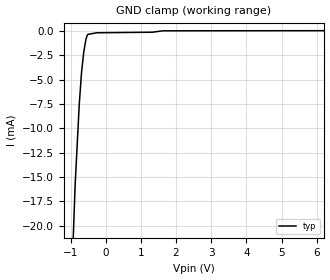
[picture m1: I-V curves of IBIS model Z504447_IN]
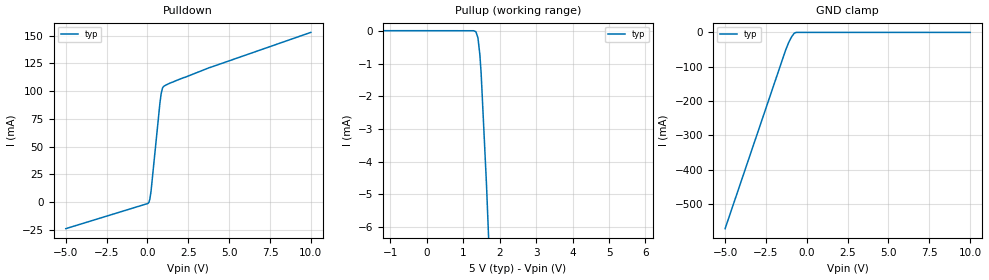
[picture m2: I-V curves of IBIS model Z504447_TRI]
| YOU ARE ONLY AUTHORIZED TO USE THIS SOFTWARE
| ACCORDING TO LICENSOR'S LICENSE RESTRICTIONS.
[IBIS Ver] 3.1
[File Name] sn54ls373j.ibs
[File Rev] 2.0
[Source] Measured and created by ICX Technology
[Date] Friday 7/14/00 9:08:15 AM
[Copyright]
| (C) COPYRIGHT 1993-2000
| MENTOR GRAPHICS CORPORATION
| ICX STANDARD LIBRARY, ICX PROJECT MODELING,
| ICX CUSTOM MODELING, ICX VENDOR MODEL
| ALL RIGHTS RESERVED.
| THE FOLLOWING ARE TRADEMARKS OR SERVICE MARKS OF
| MENTOR GRAPHICS CORPORATION:ICX (R), ICX STANDARD
| LIBRARY(R), ICX PROJECT MODELING(R), ICX CUSTOM
| MODELING(R), qualityIBIS(TM), MODELVIEWER(TM),
| AND MODELEDITOR(TM)
| ALL COPIES OF SOFTWARE, INCLUDING BUT NOT LIMITED TO
| ANY MODIFICATIONS, ENHANCEMENTS OR DERIVATIVE WORKS,
| MUST CONTAIN ALL MENTOR GRAPHICS CORPORATION'S
| NOTICES AND LEGENDS, INCLUDING THOSE EMBEDDED IN
| SOFTWARE AND THOSE AFFIXED TO SOFTWARE MEDIUM
| AND CONTAINER, AS RECEIVED FROM MENTOR GRAPHICS
| CORPORATION.
|  ZAP Model Builder 2.7
[Component] SN54LS373J
[Manufacturer] OnSemiconductor
[Package]
| variable   typ   min   max
R_pkg  .216ohms NA NA
L_pkg  5.76nH NA NA
C_pkg  2.193pF NA NA
[Pin] signal_name  model_name  R_pin  L_pin C_pin
1 _G Z504447_IN .232 9.76n 3.179p
2 Q0 Z504447_TRI .224 7.26n 2.686p
3 D0 Z504447_IN .216 5.26n 2.193p
4 D1 Z504447_IN .208 3.76n 1.7p
5 Q1 Z504447_TRI .2 2.76n 1.207p
6 Q2 Z504447_TRI .2 2.76n 1.207p
7 D2 Z504447_IN .208 3.76n 1.7p
8 D3 Z504447_IN .216 5.26n 2.193p
9 Q3 Z504447_TRI .224 7.26n 2.686p
10 GND GND .232 9.76n 3.179p
11 C Z504447_IN .232 9.76n 3.179p
12 Q4 Z504447_TRI .224 7.26n 2.686p
13 D4 Z504447_IN .216 5.26n 2.193p
14 D5 Z504447_IN .208 3.76n 1.7p
15 Q5 Z504447_TRI .2 2.76n 1.207p
16 Q6 Z504447_TRI .2 2.76n 1.207p
17 D6 Z504447_IN .208 3.76n 1.7p
18 D7 Z504447_IN .216 5.26n 2.193p
19 Q7 Z504447_TRI .224 7.26n 2.686p
20 VCC POWER .232 9.76n 3.179p
| Models and submodels in the file (2): Z504447_IN (Input), Z504447_TRI (3-state)
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| (C) COPYRIGHT 1993-2000
| MENTOR GRAPHICS CORPORATION
| ICX STANDARD LIBRARY, ICX PROJECT MODELING,
| ICX CUSTOM MODELING, ICX VENDOR MODEL
| ALL RIGHTS RESERVED.
| THE FOLLOWING ARE TRADEMARKS OR SERVICE MARKS OF
| MENTOR GRAPHICS CORPORATION:ICX (R), ICX STANDARD
| LIBRARY(R), ICX PROJECT MODELING(R), ICX CUSTOM
| MODELING(R), qualityIBIS(TM), MODELVIEWER(TM),
| AND MODELEDITOR(TM)
| ALL COPIES OF SOFTWARE, INCLUDING BUT NOT LIMITED TO
| ANY MODIFICATIONS, ENHANCEMENTS OR DERIVATIVE WORKS,
| MUST CONTAIN ALL MENTOR GRAPHICS CORPORATION'S
| NOTICES AND LEGENDS, INCLUDING THOSE EMBEDDED IN
| SOFTWARE AND THOSE AFFIXED TO SOFTWARE MEDIUM
| AND CONTAINER, AS RECEIVED FROM MENTOR GRAPHICS
| CORPORATION.
| Model Application Version 1.89 2/18/99.
[Model] Z504447_IN
Model_type Input
Vinl = 800.0mV
Vinh = 2.000V
C_comp 4.000pF NA NA
| variable typ   min   max
[Voltage Range] 5.000V NA NA
[GND Clamp Reference] 0.000V NA NA
[POWER Clamp Reference] 5.000V NA NA
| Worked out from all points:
|   GND clamp passes 1 mA (typ) near -0.57 V on its own axis
[GND Clamp]
-5V       -431.1mA   NA         NA
-868.9mV  -15.75mA   NA         NA
-752mV    -7.499mA   NA         NA
-687.3mV  -4.262mA   NA         NA
-625mV    -2.189mA   NA         NA
-561.5mV  -850.1uA   NA         NA
-527.3mV  -479.8uA   NA         NA
-502.9mV  -368.4uA   NA         NA
-251.5mV  -209.5uA   NA         NA
1.326V    -153.8uA   NA         NA
1.626V    -8.316uA   NA         NA
10V       15.74uA    NA         NA
[POWER Clamp]
-5V       0A         NA         NA
10V       0A         NA         NA
| (C) COPYRIGHT 1993-2000
| MENTOR GRAPHICS CORPORATION
| ICX STANDARD LIBRARY, ICX PROJECT MODELING,
| ICX CUSTOM MODELING, ICX VENDOR MODEL
| ALL RIGHTS RESERVED.
| THE FOLLOWING ARE TRADEMARKS OR SERVICE MARKS OF
| MENTOR GRAPHICS CORPORATION:ICX (R), ICX STANDARD
| LIBRARY(R), ICX PROJECT MODELING(R), ICX CUSTOM
| MODELING(R), qualityIBIS(TM), MODELVIEWER(TM),
| AND MODELEDITOR(TM)
| ALL COPIES OF SOFTWARE, INCLUDING BUT NOT LIMITED TO
| ANY MODIFICATIONS, ENHANCEMENTS OR DERIVATIVE WORKS,
| MUST CONTAIN ALL MENTOR GRAPHICS CORPORATION'S
| NOTICES AND LEGENDS, INCLUDING THOSE EMBEDDED IN
| SOFTWARE AND THOSE AFFIXED TO SOFTWARE MEDIUM
| AND CONTAINER, AS RECEIVED FROM MENTOR GRAPHICS
| CORPORATION.
| Model Application Version 1.89 2/18/99.
[Model] Z504447_TRI
Model_type 3-state
Vref=588.0mV
Rref=588.5ohms
Cref=45.00pF
Vmeas=1.300V
C_comp 8.000pF NA NA
| variable typ   min   max
[Voltage Range] 5.000V NA NA
[POWER Clamp Reference] 5.000V NA NA
[Pullup Reference] 5.000V NA NA
[Pulldown Reference] 0.000V NA NA
[GND Clamp Reference] 0.000V NA NA
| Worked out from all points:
|   slope of the pulldown table from 0 to 0.75 V, typ, clamps not added: 8.46 ohm
|   GND clamp passes 1 mA (typ) near -0.70 V on its own axis
[GND Clamp]
-5V       -571.4mA   NA         NA
-1.304V   -52.72mA   NA         NA
-1.109V   -29.56mA   NA         NA
-927.9mV  -12.68mA   NA         NA
-761.7mV  -1.925mA   NA         NA
-634.7mV  0A         NA         NA
10V       0A         NA         NA
[Pulldown]
-5V       -24.1mA    NA         NA
29.41mV   -1.36mA    NA         NA
87.89mV   -379.1uA   NA         NA
148.4mV   2.64mA     NA         NA
219.6mV   9.693mA    NA         NA
768mV     89.78mA    NA         NA
839.1mV   97.63mA    NA         NA
916.7mV   102.6mA    NA         NA
1.03V     104.7mA    NA         NA
3.808V    121.3mA    NA         NA
10V       153mA      NA         NA
[Pullup]
-5V       6.512uA    NA         NA
1.281V    1.504uA    NA         NA
1.344V    -26.5uA    NA         NA
1.401V    -211.6uA   NA         NA
1.455V    -738.1uA   NA         NA
1.489V    -1.294mA   NA         NA
1.636V    -4.695mA   NA         NA
10V       -238.3mA   NA         NA
[POWER Clamp]
-5V       0A         NA         NA
10V       0A         NA         NA
[Ramp]
| variable typ min max
dV/dt_r 1.923/7.116n NA NA
dV/dt_f 1.923/1.525n NA NA
R_load = 500.0Ohms
